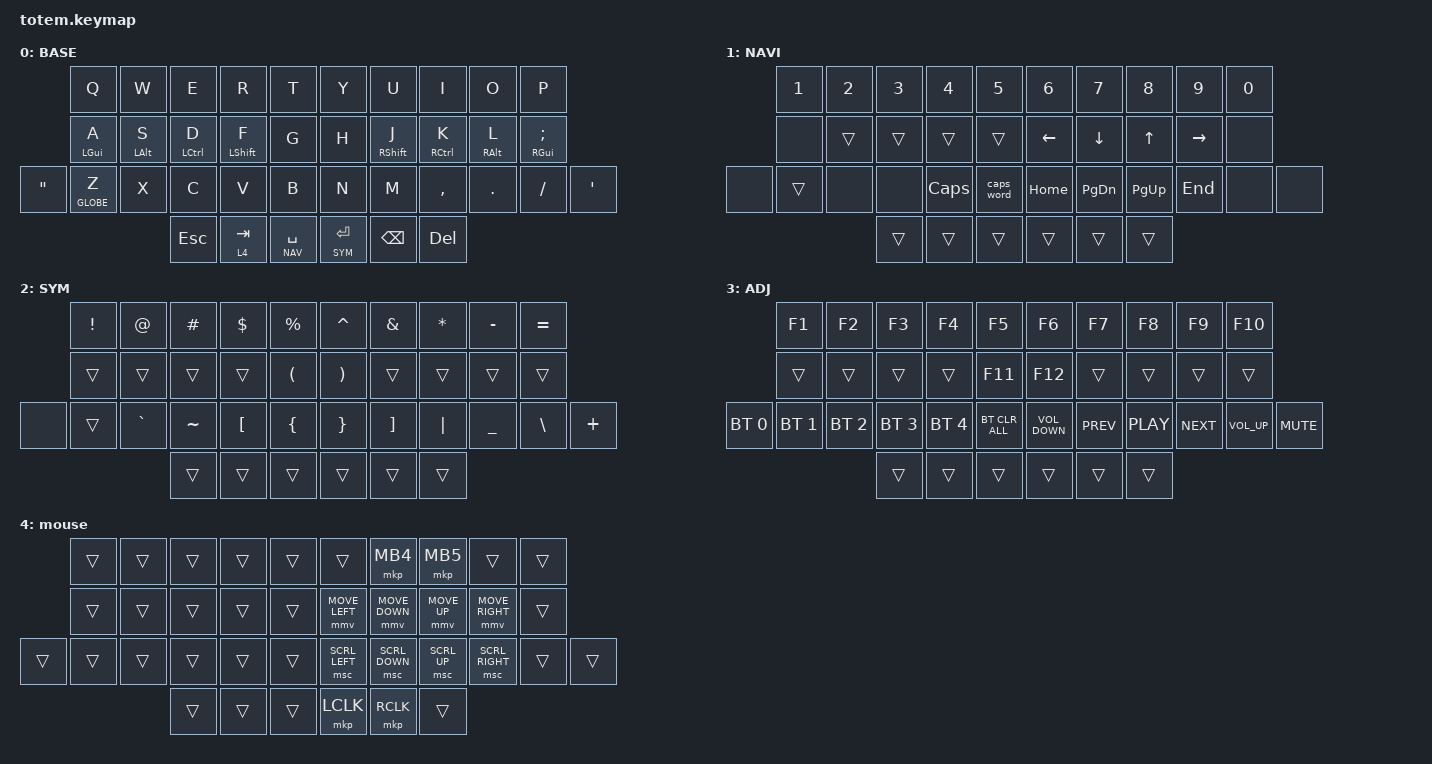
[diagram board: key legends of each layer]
//
//                                                        ▀▀▀▀▀     ▀▀▀▀▀          ▀▀█▀▀
//                                                        ▄▀▀▀▄  ▄  ▄▀▀▀▄  ▄  ▄▀▀▀▄  █  ▄▀▀▀▄
//                                                        █   █  █  █   █  █  █   █  █  █   █
//                                                         ▀▀▀   █   ▀▀▀   █   ▀▀▀   ▀   ▀▀▀
//                                                               █      ▄▄▄█▄▄▄    █   █  
//                                                               ▀      █  █  █     █▄█
//                                                             ▀▀▀▀▀    █  █  █      ▀
//                                                                      ▀  ▀  ▀
//
// ▄▄▄▄▄▄▄▄▄▄▄▄▄▄▄▄▄▄▄▄▄▄▄▄▄▄▄▄▄▄▄▄▄▄▄▄▄▄▄▄▄▄▄▄▄▄▄▄▄▄▄▄▄▄▄▄▄▄▄▄▄▄▄▄▄▄▄▄▄▄▄▄▄▄▄▄▄▄▄▄▄▄▄▄▄▄▄▄▄▄▄▄▄▄▄▄▄▄▄▄▄▄▄▄▄▄▄▄▄▄▄▄▄▄▄▄▄▄▄▄▄▄▄▄▄▄▄▄▄▄▄▄▄▄▄▄▄▄▄▄▄▄▄▄▄▄▄▄▄

#include <behaviors.dtsi>
#include <dt-bindings/zmk/bt.h>
#include <dt-bindings/zmk/keys.h>
#include <dt-bindings/zmk/pointing.h>

#define BASE 0
#define NAV  1
#define SYM  2
#define ADJ  3

&mt {
    quick-tap-ms = <100>;
    global-quick-tap;
    flavor = "tap-preferred";
    tapping-term-ms = <170>;
};

/ {
    combos {
        compatible = "zmk,combos";

        combo_esc {
            timeout-ms = <50>;
            key-positions = <0 1>;
            bindings = <&kp ESC>;
        };

        btn1_btn2_layer3 {
            bindings = <&mo 3>;
            key-positions = <35 34>;
        };
    };

    macros {
        gif: gif {
            label = "giphy";
            compatible = "zmk,behavior-macro";
            #binding-cells = <0>;
            bindings =
                <&macro_press>,
                <&kp LSHFT>,
                <&macro_tap>,
                <&kp N2>,
                <&macro_release>,
                <&kp LSHFT>,
                <&macro_tap>,
                <&kp G &kp I &kp F>;
        };
    };

    keymap {
        compatible = "zmk,keymap";

        // ▄▄▄▄▄▄▄▄▄▄▄▄▄▄▄▄▄▄▄▄▄▄▄▄▄▄▄▄▄▄▄▄▄▄▄▄▄▄▄▄▄▄▄▄▄▄▄▄▄▄▄▄▄▄▄▄▄▄▄▄▄▄▄▄▄▄▄▄▄▄▄▄▄▄▄▄▄▄▄▄▄▄▄▄▄▄▄▄▄▄▄▄▄▄▄▄▄▄▄▄▄▄▄▄▄▄▄▄▄▄▄▄▄▄▄▄▄▄▄▄▄▄▄▄▄▄▄▄▄▄▄▄▄▄▄▄▄▄▄▄▄▄▄▄▄▄▄▄▄

        base_layer {
            // ┏━━━━━━━━━━━━━━━━━━━━━━━━━━━━━━━━━━━━━━━┓

            label = "BASE";

            // ┗━━━━━━━━━━━━━━━━━━━━━━━━━━━━━━━━━━━━━━━┛
            //             ┏━━━━━━━━━━━┳━━━━━━━━━━━┳━━━━━━━━━━━┳━━━━━━━━━━━┳━━━━━━━━━━━┓   ┏━━━━━━━━━━━┳━━━━━━━━━━━┳━━━━━━━━━━━┳━━━━━━━━━━━┳━━━━━━━━━━━┓
            //             ┃     Q     ┃     W     ┃     F     ┃     P     ┃     G     ┃   ┃     J     ┃     L     ┃     U     ┃     Y     ┃     ;     ┃
            //             ┣━━━━━━━━━━━╋━━━━━━━━━━━╋━━━━━━━━━━━╋━━━━━━━━━━━╋━━━━━━━━━━━┫   ┣━━━━━━━━━━━╋━━━━━━━━━━━╋━━━━━━━━━━━╋━━━━━━━━━━━╋━━━━━━━━━━━┫
            //             ┃     A     ┃     R     ┃     S     ┃     T     ┃     D     ┃   ┃     H     ┃     N     ┃     E     ┃     I     ┃     O     ┃
            // ┏━━━━━━━━━━━╋━━━━━━━━━━━╋━━━━━━━━━━━╋━━━━━━━━━━━╋━━━━━━━━━━━╋━━━━━━━━━━━┫   ┣━━━━━━━━━━━╋━━━━━━━━━━━╋━━━━━━━━━━━╋━━━━━━━━━━━╋━━━━━━━━━━━╋━━━━━━━━━━━┓
            // ┃           ┃     Z     ┃     X     ┃     C     ┃     V     ┃     B     ┃   ┃     K     ┃     M     ┃     ,     ┃     .     ┃     /     ┃           ┃
            // ┗━━━━━━━━━━━┻━━━━━━━━━━━┻━━━━━━━━━━━╋━━━━━━━━━━━╋━━━━━━━━━━━╋━━━━━━━━━━━┫   ┣━━━━━━━━━━━╋━━━━━━━━━━━╋━━━━━━━━━━━╋━━━━━━━━━━━┻━━━━━━━━━━━┻━━━━━━━━━━━┛
            //                                     ┃           ┃    TAB    ┃    SPC    ┃   ┃   ENTER   ┃   BSPC    ┃           ┃
            //                                     ┗━━━━━━━━━━━┻━━━━━━━━━━━┻━━━━━━━━━━━┛   ┗━━━━━━━━━━━┻━━━━━━━━━━━┻━━━━━━━━━━━┛

            bindings = <
                   &kp Q        &kp W       &kp E        &kp R        &kp T            &kp Y        &kp U        &kp I        &kp O       &kp P
                   &mt LGUI A   &mt LALT S  &mt LCTRL D  &mt LSHFT F  &kp G            &kp H        &mt RSHFT J  &mt RCTRL K  &mt RALT L  &mt RGUI SEMI
&kp DOUBLE_QUOTES  &mt GLOBE Z  &kp X       &kp C        &kp V        &kp B            &kp N        &kp M        &kp COMMA    &kp DOT     &kp SLASH      &kp APOS
                                            &kp ESCAPE   &lt 4 TAB    &lt NAV SPACE    &lt SYM RET  &kp BSPC     &kp DEL
            >;
        };

        // ▄▄▄▄▄▄▄▄▄▄▄▄▄▄▄▄▄▄▄▄▄▄▄▄▄▄▄▄▄▄▄▄▄▄▄▄▄▄▄▄▄▄▄▄▄▄▄▄▄▄▄▄▄▄▄▄▄▄▄▄▄▄▄▄▄▄▄▄▄▄▄▄▄▄▄▄▄▄▄▄▄▄▄▄▄▄▄▄▄▄▄▄▄▄▄▄▄▄▄▄▄▄▄▄▄▄▄▄▄▄▄▄▄▄▄▄▄▄▄▄▄▄▄▄▄▄▄▄▄▄▄▄▄▄▄▄▄▄▄▄▄▄▄▄▄▄▄▄▄

        nav_layer {
            // ┏━━━━━━━━━━━━━━━━━━━━━━━━━━━━━━━━━━━━━━━┓

            label = "NAVI";

            // ┗━━━━━━━━━━━━━━━━━━━━━━━━━━━━━━━━━━━━━━━┛
            //             ┏━━━━━━━━━━━┳━━━━━━━━━━━┳━━━━━━━━━━━┳━━━━━━━━━━━┳━━━━━━━━━━━┓   ┏━━━━━━━━━━━┳━━━━━━━━━━━┳━━━━━━━━━━━┳━━━━━━━━━━━┳━━━━━━━━━━━┓
            //             ┃           ┃           ┃     UP    ┃           ┃     {     ┃   ┃     }     ┃     7     ┃     8     ┃     9     ┃     +     ┃
            //             ┣━━━━━━━━━━━╋━━━━━━━━━━━╋━━━━━━━━━━━╋━━━━━━━━━━━╋━━━━━━━━━━━┫   ┣━━━━━━━━━━━╋━━━━━━━━━━━╋━━━━━━━━━━━╋━━━━━━━━━━━╋━━━━━━━━━━━┫
            //             ┃   SHIFT   ┃   LEFT    ┃    DOWN   ┃   RIGHT   ┃     [     ┃   ┃     ]     ┃     4     ┃     5     ┃     6     ┃     -     ┃
            // ┏━━━━━━━━━━━╋━━━━━━━━━━━╋━━━━━━━━━━━╋━━━━━━━━━━━╋━━━━━━━━━━━╋━━━━━━━━━━━┫   ┣━━━━━━━━━━━╋━━━━━━━━━━━╋━━━━━━━━━━━╋━━━━━━━━━━━╋━━━━━━━━━━━╋━━━━━━━━━━━┓
            // ┃           ┃           ┃   P UP    ┃  C LOCK   ┃  P DOWN   ┃     (     ┃   ┃     )     ┃     1     ┃     2     ┃     3     ┃     *     ┃           ┃
            // ┗━━━━━━━━━━━┻━━━━━━━━━━━┻━━━━━━━━━━━╋━━━━━━━━━━━╋━━━━━━━━━━━╋━━━━━━━━━━━┫   ┣━━━━━━━━━━━╋━━━━━━━━━━━╋━━━━━━━━━━━╋━━━━━━━━━━━┻━━━━━━━━━━━┻━━━━━━━━━━━┛
            //                                     ┃           ┃    TAB    ┃    SPC    ┃   ┃    DEL    ┃     0     ┃           ┃
            //                                     ┗━━━━━━━━━━━┻━━━━━━━━━━━┻━━━━━━━━━━━┛   ┗━━━━━━━━━━━┻━━━━━━━━━━━┻━━━━━━━━━━━┛

            bindings = <
       &kp NUMBER_1  &kp NUMBER_2  &kp NUMBER_3  &kp NUMBER_4  &kp N5        &kp NUMBER_6  &kp N7         &kp N8        &kp N9     &kp N0
       &none         &trans        &trans        &trans        &trans        &kp LEFT      &kp DOWN       &kp UP_ARROW  &kp RIGHT  &none
&none  &trans        &none         &none         &kp CLCK      &caps_word    &kp HOME      &kp PAGE_DOWN  &kp PAGE_UP   &kp END    &none   &none
                                   &trans        &trans        &trans        &trans        &trans         &trans
            >;
        };

        // ▄▄▄▄▄▄▄▄▄▄▄▄▄▄▄▄▄▄▄▄▄▄▄▄▄▄▄▄▄▄▄▄▄▄▄▄▄▄▄▄▄▄▄▄▄▄▄▄▄▄▄▄▄▄▄▄▄▄▄▄▄▄▄▄▄▄▄▄▄▄▄▄▄▄▄▄▄▄▄▄▄▄▄▄▄▄▄▄▄▄▄▄▄▄▄▄▄▄▄▄▄▄▄▄▄▄▄▄▄▄▄▄▄▄▄▄▄▄▄▄▄▄▄▄▄▄▄▄▄▄▄▄▄▄▄▄▄▄▄▄▄▄▄▄▄▄▄▄▄

        sim_layer {
            // ┏━━━━━━━━━━━━━━━━━━━━━━━━━━━━━━━━━━━━━━━┓

            label = "SYM";

            // ┗━━━━━━━━━━━━━━━━━━━━━━━━━━━━━━━━━━━━━━━┛
            //             ┏━━━━━━━━━━━┳━━━━━━━━━━━┳━━━━━━━━━━━┳━━━━━━━━━━━┳━━━━━━━━━━━┓   ┏━━━━━━━━━━━┳━━━━━━━━━━━┳━━━━━━━━━━━┳━━━━━━━━━━━┳━━━━━━━━━━━┓
            //             ┃     !     ┃     @     ┃     #     ┃     $     ┃     %     ┃   ┃     ˆ     ┃     &     ┃     Ü     ┃     '     ┃     "     ┃
            //             ┣━━━━━━━━━━━╋━━━━━━━━━━━╋━━━━━━━━━━━╋━━━━━━━━━━━╋━━━━━━━━━━━┫   ┣━━━━━━━━━━━╋━━━━━━━━━━━╋━━━━━━━━━━━╋━━━━━━━━━━━╋━━━━━━━━━━━┫
            //             ┃     Ä     ┃           ┃    SZ     ┃           ┃           ┃   ┃   MUTE    ┃   YEN     ┃   EURO    ┃  POUND    ┃     Ö     ┃
            // ┏━━━━━━━━━━━╋━━━━━━━━━━━╋━━━━━━━━━━━╋━━━━━━━━━━━╋━━━━━━━━━━━╋━━━━━━━━━━━┫   ┣━━━━━━━━━━━╋━━━━━━━━━━━╋━━━━━━━━━━━╋━━━━━━━━━━━╋━━━━━━━━━━━╋━━━━━━━━━━━┓
            // ┃           ┃  EMAIL1   ┃  EMAIL2   ┃           ┃           ┃           ┃   ┃   VOL-    ┃   VOL+    ┃   LAST    ┃   NEXT    ┃     \     ┃           ┃
            // ┗━━━━━━━━━━━┻━━━━━━━━━━━┻━━━━━━━━━━━╋━━━━━━━━━━━╋━━━━━━━━━━━╋━━━━━━━━━━━┫   ┣━━━━━━━━━━━╋━━━━━━━━━━━╋━━━━━━━━━━━╋━━━━━━━━━━━┻━━━━━━━━━━━┻━━━━━━━━━━━┛
            //                                     ┃           ┃    GIF    ┃    ADJ    ┃   ┃           ┃           ┃           ┃
            //                                     ┗━━━━━━━━━━━┻━━━━━━━━━━━┻━━━━━━━━━━━┛   ┗━━━━━━━━━━━┻━━━━━━━━━━━┻━━━━━━━━━━━┛

            bindings = <
       &kp EXCL  &kp AT     &kp HASH   &kp DLLR          &kp PRCNT               &kp CARET              &kp AMPS           &kp ASTERISK  &kp MINUS  &kp EQUAL
       &trans    &trans     &trans     &trans            &kp LEFT_PARENTHESIS    &kp RIGHT_PARENTHESIS  &trans             &trans        &trans     &trans
&none  &trans    &kp GRAVE  &kp TILDE  &kp LEFT_BRACKET  &kp LEFT_BRACE          &kp RIGHT_BRACE        &kp RIGHT_BRACKET  &kp PIPE      &kp UNDER  &kp BSLH   &kp PLUS
                            &trans     &trans            &trans                  &trans                 &trans             &trans
            >;
        };

        // ▄▄▄▄▄▄▄▄▄▄▄▄▄▄▄▄▄▄▄▄▄▄▄▄▄▄▄▄▄▄▄▄▄▄▄▄▄▄▄▄▄▄▄▄▄▄▄▄▄▄▄▄▄▄▄▄▄▄▄▄▄▄▄▄▄▄▄▄▄▄▄▄▄▄▄▄▄▄▄▄▄▄▄▄▄▄▄▄▄▄▄▄▄▄▄▄▄▄▄▄▄▄▄▄▄▄▄▄▄▄▄▄▄▄▄▄▄▄▄▄▄▄▄▄▄▄▄▄▄▄▄▄▄▄▄▄▄▄▄▄▄▄▄▄▄▄▄▄▄

        adjust_layer {
            // ┏━━━━━━━━━━━━━━━━━━━━━━━━━━━━━━━━━━━━━━━┓

            label = "ADJ";

            // ┗━━━━━━━━━━━━━━━━━━━━━━━━━━━━━━━━━━━━━━━┛
            //             ┏━━━━━━━━━━━┳━━━━━━━━━━━┳━━━━━━━━━━━┳━━━━━━━━━━━┳━━━━━━━━━━━┓   ┏━━━━━━━━━━━┳━━━━━━━━━━━┳━━━━━━━━━━━┳━━━━━━━━━━━┳━━━━━━━━━━━┓
            //             ┃   RESET   ┃ BT CLEAR  ┃  OUT TOG  ┃           ┃           ┃   ┃           ┃    F7     ┃    F8     ┃    F9     ┃    F12    ┃
            //             ┣━━━━━━━━━━━╋━━━━━━━━━━━╋━━━━━━━━━━━╋━━━━━━━━━━━╋━━━━━━━━━━━┫   ┣━━━━━━━━━━━╋━━━━━━━━━━━╋━━━━━━━━━━━╋━━━━━━━━━━━╋━━━━━━━━━━━┫
            //             ┃ BOOTLOAD  ┃ BT NEXT   ┃           ┃           ┃           ┃   ┃           ┃    F4     ┃    F5     ┃    F6     ┃    F11    ┃
            // ┏━━━━━━━━━━━╋━━━━━━━━━━━╋━━━━━━━━━━━╋━━━━━━━━━━━╋━━━━━━━━━━━╋━━━━━━━━━━━┫   ┣━━━━━━━━━━━╋━━━━━━━━━━━╋━━━━━━━━━━━╋━━━━━━━━━━━╋━━━━━━━━━━━╋━━━━━━━━━━━┓
            // ┃           ┃           ┃ BT PREV   ┃           ┃           ┃           ┃   ┃           ┃    F1     ┃    F2     ┃    F3     ┃    F10    ┃           ┃
            // ┗━━━━━━━━━━━┻━━━━━━━━━━━┻━━━━━━━━━━━╋━━━━━━━━━━━╋━━━━━━━━━━━╋━━━━━━━━━━━┫   ┣━━━━━━━━━━━╋━━━━━━━━━━━╋━━━━━━━━━━━╋━━━━━━━━━━━┻━━━━━━━━━━━┻━━━━━━━━━━━┛
            //                                     ┃           ┃           ┃           ┃   ┃           ┃           ┃           ┃
            //                                     ┗━━━━━━━━━━━┻━━━━━━━━━━━┻━━━━━━━━━━━┛   ┗━━━━━━━━━━━┻━━━━━━━━━━━┻━━━━━━━━━━━┛

            bindings = <
              &kp F1        &kp F2        &kp F3        &kp F4        &kp F5            &kp F6             &kp F7      &kp F8      &kp F9      &kp F10
              &trans        &trans        &trans        &trans        &kp F11           &kp F12            &trans      &trans      &trans      &trans
&bt BT_SEL 0  &bt BT_SEL 1  &bt BT_SEL 2  &bt BT_SEL 3  &bt BT_SEL 4  &bt BT_CLR_ALL    &kp C_VOLUME_DOWN  &kp C_PREV  &kp C_PLAY  &kp C_NEXT  &kp C_VOLUME_UP  &kp C_MUTE
                                          &trans        &trans        &trans            &trans             &trans      &trans
            >;
        };

        mouse_layer {
            bindings = <
        &trans  &trans  &trans  &trans  &trans    &trans          &mkp MB4        &mkp MB5      &trans           &trans
        &trans  &trans  &trans  &trans  &trans    &mmv MOVE_LEFT  &mmv MOVE_DOWN  &mmv MOVE_UP  &mmv MOVE_RIGHT  &trans
&trans  &trans  &trans  &trans  &trans  &trans    &msc SCRL_LEFT  &msc SCRL_DOWN  &msc SCRL_UP  &msc SCRL_RIGHT  &trans  &trans
                        &trans  &trans  &trans    &mkp LCLK       &mkp RCLK       &trans
            >;

            label = "mouse";
        };
    };
};
